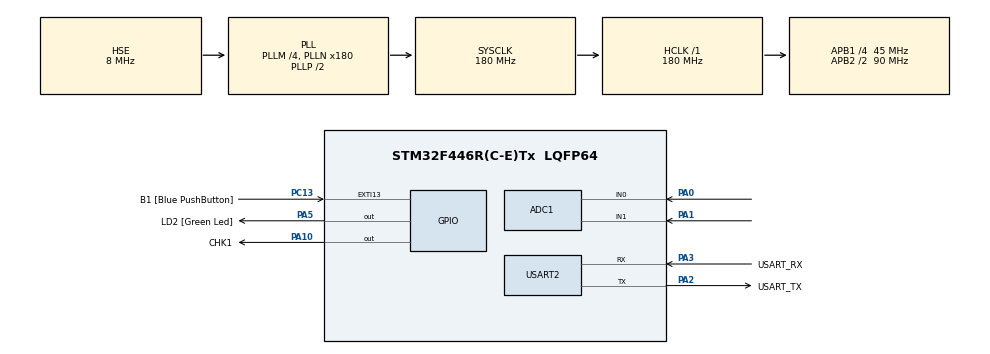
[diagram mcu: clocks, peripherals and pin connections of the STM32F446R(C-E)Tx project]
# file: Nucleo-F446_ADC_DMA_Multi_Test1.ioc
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ADC1.Channel-0\#ChannelRegularConversion=ADC_CHANNEL_0
ADC1.Channel-1\#ChannelRegularConversion=ADC_CHANNEL_1
ADC1.ContinuousConvMode=ENABLE
ADC1.DMAContinuousRequests=ENABLE
ADC1.EOCSelection=ADC_EOC_SINGLE_CONV
ADC1.NbrOfConversion=2
ADC1.NbrOfConversionFlag=1
ADC1.Rank-0\#ChannelRegularConversion=1
ADC1.Rank-1\#ChannelRegularConversion=2
ADC1.SamplingTime-0\#ChannelRegularConversion=ADC_SAMPLETIME_480CYCLES
ADC1.SamplingTime-1\#ChannelRegularConversion=ADC_SAMPLETIME_480CYCLES
ADC1.master=1
Dma.ADC1.0.Direction=DMA_PERIPH_TO_MEMORY
Dma.ADC1.0.FIFOMode=DMA_FIFOMODE_DISABLE
Dma.ADC1.0.Instance=DMA2_Stream0
Dma.ADC1.0.MemDataAlignment=DMA_MDATAALIGN_HALFWORD
Dma.ADC1.0.MemInc=DMA_MINC_ENABLE
Dma.ADC1.0.Mode=DMA_CIRCULAR
Dma.ADC1.0.PeriphDataAlignment=DMA_PDATAALIGN_HALFWORD
Dma.ADC1.0.PeriphInc=DMA_PINC_DISABLE
Dma.ADC1.0.Priority=DMA_PRIORITY_LOW
Dma.Request0=ADC1
Mcu.Family=STM32F4
Mcu.Name=STM32F446R(C-E)Tx
Mcu.Package=LQFP64
NVIC.DMA2_Stream0_IRQn=true\:0\:0\:false\:false\:true\:false\:true
NVIC.PriorityGroup=NVIC_PRIORITYGROUP_0
PA0-WKUP.Signal=ADCx_IN0
PA1.Signal=ADCx_IN1
PA10.GPIO_Label=CHK1
PA10.GPIO_Speed=GPIO_SPEED_FREQ_MEDIUM
PA10.Signal=GPIO_Output
PA13.GPIO_Label=TMS
PA13.Mode=Serial_Wire
PA13.Signal=SYS_JTMS-SWDIO
PA14.GPIO_Label=TCK
PA14.Mode=Serial_Wire
PA14.Signal=SYS_JTCK-SWCLK
PA2.GPIO_Label=USART_TX
PA2.Mode=Asynchronous
PA2.Signal=USART2_TX
PA3.GPIO_Label=USART_RX
PA3.Mode=Asynchronous
PA3.Signal=USART2_RX
PA5.GPIO_Label=LD2 [Green Led]
PA5.Signal=GPIO_Output
PB3.GPIO_Label=SWO
PB3.Signal=SYS_JTDO-SWO
PC13.GPIO_Label=B1 [Blue PushButton]
PC13.GPIO_ModeDefaultEXTI=GPIO_MODE_IT_FALLING
PC13.Signal=GPXTI13
PC14-OSC32_IN.Mode=LSE-External-Oscillator
PC14-OSC32_IN.Signal=RCC_OSC32_IN
PC15-OSC32_OUT.Mode=LSE-External-Oscillator
PC15-OSC32_OUT.Signal=RCC_OSC32_OUT
PH0-OSC_IN.Mode=HSE-External-Oscillator
PH0-OSC_IN.Signal=RCC_OSC_IN
PH1-OSC_OUT.Mode=HSE-External-Oscillator
PH1-OSC_OUT.Signal=RCC_OSC_OUT
ProjectManager.HeapSize=0x200
ProjectManager.StackSize=0x400
ProjectManager.TargetToolchain=SW4STM32
RCC.48MHZClocksFreq_Value=84000000
RCC.AHBFreq_Value=180000000
RCC.APB1CLKDivider=RCC_HCLK_DIV4
RCC.APB1Freq_Value=45000000
RCC.APB1TimFreq_Value=90000000
RCC.APB2CLKDivider=RCC_HCLK_DIV2
RCC.APB2Freq_Value=90000000
RCC.APB2TimFreq_Value=180000000
RCC.CortexFreq_Value=180000000
RCC.FLatency-AdvancedSettings=FLASH_LATENCY_5
RCC.HCLKFreq_Value=180000000
RCC.HSE_VALUE=8000000
RCC.HSI_VALUE=16000000
RCC.PLLM=4
RCC.PLLN=180
RCC.PLLSourceVirtual=RCC_PLLSOURCE_HSE
RCC.SYSCLKFreq_VALUE=180000000
RCC.SYSCLKSource=RCC_SYSCLKSOURCE_PLLCLK
RCC.USBFreq_Value=180000000
RCC.VCOOutputFreq_Value=360000000
SH.ADCx_IN0.0=ADC1_IN0,IN0
SH.ADCx_IN1.0=ADC1_IN1,IN1
USART2.VirtualMode=VM_ASYNC
board=NUCLEO-F446RE

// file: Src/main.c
/* USER CODE BEGIN Header */
/**
  ******************************************************************************
  * @file           : main.c
  * @brief          : Main program body
  ******************************************************************************
  * @attention
  *
  * <h2><center>&copy; Copyright (c) 2019 STMicroelectronics.
  * All rights reserved.</center></h2>
  *
  * This software component is licensed by ST under BSD 3-Clause license,
  * the "License"; You may not use this file except in compliance with the
  * License. You may obtain a copy of the License at:
  *                        opensource.org/licenses/BSD-3-Clause
  *
  ******************************************************************************
  */
/* USER CODE END Header */

#include "main.h"

/* USER CODE BEGIN Includes */
#include <stdio.h>
/* USER CODE END Includes */

/* USER CODE BEGIN PD */
#define ADC_CHANNEL_N	(2)
/* USER CODE END PD */

ADC_HandleTypeDef hadc1;
DMA_HandleTypeDef hdma_adc1;

UART_HandleTypeDef huart2;

/* USER CODE BEGIN PV */
__IO uint16_t uhADCxConvertedValue[ADC_CHANNEL_N];
/* USER CODE END PV */

void SystemClock_Config(void);
static void MX_GPIO_Init(void);
static void MX_DMA_Init(void);
static void MX_ADC1_Init(void);
static void MX_USART2_UART_Init(void);

/* USER CODE BEGIN 0 */
#ifdef __GNUC__
#define PUTCHAR_PROTOTYPE int __io_putchar(int ch)
#else
#define PUTCHAR_PROTOTYPE int fputc(int ch, FILE *f)
#endif
PUTCHAR_PROTOTYPE
{
 HAL_UART_Transmit(&huart2, (uint8_t *)&ch, 1, 0xFFFF);
 return ch;
}
/* USER CODE END 0 */

int main(void)
{

  /* MCU Configuration--------------------------------------------------------*/

  /* Reset of all peripherals, Initializes the Flash interface and the Systick. */
  HAL_Init();

  /* Configure the system clock */
  SystemClock_Config();

  /* Initialize all configured peripherals */
  MX_GPIO_Init();
  MX_DMA_Init();
  MX_ADC1_Init();
  MX_USART2_UART_Init();
  /* USER CODE BEGIN 2 */
  printf("before HAL_ADC_Start_DMA()\r\n");

  /*##-3- Start the conversion process #######################################*/
  /* Note: Considering IT occurring after each number of ADC conversions      */
  /*       (IT by DMA end of transfer), select sampling time and ADC clock    */
  /*       with sufficient duration to not create an overhead situation in    */
  /*        IRQHandler. */
  if(HAL_ADC_Start_DMA(&hadc1, (uint32_t*)uhADCxConvertedValue, ADC_CHANNEL_N) != HAL_OK)
  {
    /* Start Conversation Error */
    Error_Handler();
  }

  printf("after HAL_ADC_Start_DMA()\r\n");
  /* USER CODE END 2 */

  /* Infinite loop */
  while (1)
  {

    /* USER CODE BEGIN 3 */
	HAL_GPIO_WritePin(CHK1_GPIO_Port, CHK1_Pin, GPIO_PIN_SET);
	printf("ADC Value[0]: %d\t",   uhADCxConvertedValue[0]);
	printf("ADC Value[1]: %d\r\n", uhADCxConvertedValue[1]);
	HAL_GPIO_WritePin(CHK1_GPIO_Port, CHK1_Pin, GPIO_PIN_RESET);
  }
  /* USER CODE END 3 */
}

void SystemClock_Config(void)
{
  RCC_OscInitTypeDef RCC_OscInitStruct = {0};
  RCC_ClkInitTypeDef RCC_ClkInitStruct = {0};

  /** Configure the main internal regulator output voltage
  */
  __HAL_RCC_PWR_CLK_ENABLE();
  __HAL_PWR_VOLTAGESCALING_CONFIG(PWR_REGULATOR_VOLTAGE_SCALE1);
  /** Initializes the CPU, AHB and APB busses clocks
  */
  RCC_OscInitStruct.OscillatorType = RCC_OSCILLATORTYPE_HSE;
  RCC_OscInitStruct.HSEState = RCC_HSE_ON;
  RCC_OscInitStruct.PLL.PLLState = RCC_PLL_ON;
  RCC_OscInitStruct.PLL.PLLSource = RCC_PLLSOURCE_HSE;
  RCC_OscInitStruct.PLL.PLLM = 4;
  RCC_OscInitStruct.PLL.PLLN = 180;
  RCC_OscInitStruct.PLL.PLLP = RCC_PLLP_DIV2;
  RCC_OscInitStruct.PLL.PLLQ = 2;
  RCC_OscInitStruct.PLL.PLLR = 2;
  if (HAL_RCC_OscConfig(&RCC_OscInitStruct) != HAL_OK)
  {
    Error_Handler();
  }
  /** Activate the Over-Drive mode
  */
  if (HAL_PWREx_EnableOverDrive() != HAL_OK)
  {
    Error_Handler();
  }
  /** Initializes the CPU, AHB and APB busses clocks
  */
  RCC_ClkInitStruct.ClockType = RCC_CLOCKTYPE_HCLK|RCC_CLOCKTYPE_SYSCLK
                              |RCC_CLOCKTYPE_PCLK1|RCC_CLOCKTYPE_PCLK2;
  RCC_ClkInitStruct.SYSCLKSource = RCC_SYSCLKSOURCE_PLLCLK;
  RCC_ClkInitStruct.AHBCLKDivider = RCC_SYSCLK_DIV1;
  RCC_ClkInitStruct.APB1CLKDivider = RCC_HCLK_DIV4;
  RCC_ClkInitStruct.APB2CLKDivider = RCC_HCLK_DIV2;

  if (HAL_RCC_ClockConfig(&RCC_ClkInitStruct, FLASH_LATENCY_5) != HAL_OK)
  {
    Error_Handler();
  }
}

static void MX_ADC1_Init(void)
{

  ADC_ChannelConfTypeDef sConfig = {0};

  /** Configure the global features of the ADC (Clock, Resolution, Data Alignment and number of conversion)
  */
  hadc1.Instance = ADC1;
  hadc1.Init.ClockPrescaler = ADC_CLOCK_SYNC_PCLK_DIV4;
  hadc1.Init.Resolution = ADC_RESOLUTION_12B;
  hadc1.Init.ScanConvMode = ENABLE;
  hadc1.Init.ContinuousConvMode = ENABLE;
  hadc1.Init.DiscontinuousConvMode = DISABLE;
  hadc1.Init.ExternalTrigConvEdge = ADC_EXTERNALTRIGCONVEDGE_NONE;
  hadc1.Init.ExternalTrigConv = ADC_SOFTWARE_START;
  hadc1.Init.DataAlign = ADC_DATAALIGN_RIGHT;
  hadc1.Init.NbrOfConversion = 2;
  hadc1.Init.DMAContinuousRequests = ENABLE;
  hadc1.Init.EOCSelection = ADC_EOC_SINGLE_CONV;
  if (HAL_ADC_Init(&hadc1) != HAL_OK)
  {
    Error_Handler();
  }
  /** Configure for the selected ADC regular channel its corresponding rank in the sequencer and its sample time.
  */
  sConfig.Channel = ADC_CHANNEL_0;
  sConfig.Rank = 1;
  sConfig.SamplingTime = ADC_SAMPLETIME_480CYCLES;
  if (HAL_ADC_ConfigChannel(&hadc1, &sConfig) != HAL_OK)
  {
    Error_Handler();
  }
  /** Configure for the selected ADC regular channel its corresponding rank in the sequencer and its sample time.
  */
  sConfig.Channel = ADC_CHANNEL_1;
  sConfig.Rank = 2;
  if (HAL_ADC_ConfigChannel(&hadc1, &sConfig) != HAL_OK)
  {
    Error_Handler();
  }

}

static void MX_USART2_UART_Init(void)
{

  huart2.Instance = USART2;
  huart2.Init.BaudRate = 115200;
  huart2.Init.WordLength = UART_WORDLENGTH_8B;
  huart2.Init.StopBits = UART_STOPBITS_1;
  huart2.Init.Parity = UART_PARITY_NONE;
  huart2.Init.Mode = UART_MODE_TX_RX;
  huart2.Init.HwFlowCtl = UART_HWCONTROL_NONE;
  huart2.Init.OverSampling = UART_OVERSAMPLING_16;
  if (HAL_UART_Init(&huart2) != HAL_OK)
  {
    Error_Handler();
  }

}

static void MX_DMA_Init(void)
{
  /* DMA controller clock enable */
  __HAL_RCC_DMA2_CLK_ENABLE();

  /* DMA interrupt init */
  /* DMA2_Stream0_IRQn interrupt configuration */
  HAL_NVIC_SetPriority(DMA2_Stream0_IRQn, 0, 0);
  HAL_NVIC_EnableIRQ(DMA2_Stream0_IRQn);

}

static void MX_GPIO_Init(void)
{
  GPIO_InitTypeDef GPIO_InitStruct = {0};

  /* GPIO Ports Clock Enable */
  __HAL_RCC_GPIOC_CLK_ENABLE();
  __HAL_RCC_GPIOH_CLK_ENABLE();
  __HAL_RCC_GPIOA_CLK_ENABLE();
  __HAL_RCC_GPIOB_CLK_ENABLE();

  /*Configure GPIO pin Output Level */
  HAL_GPIO_WritePin(GPIOA, LD2_Pin|CHK1_Pin, GPIO_PIN_RESET);

  /*Configure GPIO pin : B1_Pin */
  GPIO_InitStruct.Pin = B1_Pin;
  GPIO_InitStruct.Mode = GPIO_MODE_IT_FALLING;
  GPIO_InitStruct.Pull = GPIO_NOPULL;
  HAL_GPIO_Init(B1_GPIO_Port, &GPIO_InitStruct);

  /*Configure GPIO pin : LD2_Pin */
  GPIO_InitStruct.Pin = LD2_Pin;
  GPIO_InitStruct.Mode = GPIO_MODE_OUTPUT_PP;
  GPIO_InitStruct.Pull = GPIO_NOPULL;
  GPIO_InitStruct.Speed = GPIO_SPEED_FREQ_LOW;
  HAL_GPIO_Init(LD2_GPIO_Port, &GPIO_InitStruct);

  /*Configure GPIO pin : CHK1_Pin */
  GPIO_InitStruct.Pin = CHK1_Pin;
  GPIO_InitStruct.Mode = GPIO_MODE_OUTPUT_PP;
  GPIO_InitStruct.Pull = GPIO_NOPULL;
  GPIO_InitStruct.Speed = GPIO_SPEED_FREQ_MEDIUM;
  HAL_GPIO_Init(CHK1_GPIO_Port, &GPIO_InitStruct);

}

/* USER CODE BEGIN 4 */
void HAL_ADC_ConvCpltCallback(ADC_HandleTypeDef* AdcHandle)
{
  /* Turn LED2 on: Transfer process is correct */
  HAL_GPIO_TogglePin(LD2_GPIO_Port, LD2_Pin);
  //printf("ADC Value: %d\r\n", uhADCxConvertedValue);
}
/* USER CODE END 4 */

void Error_Handler(void)
{
}

/************************ (C) COPYRIGHT STMicroelectronics *****END OF FILE****/
